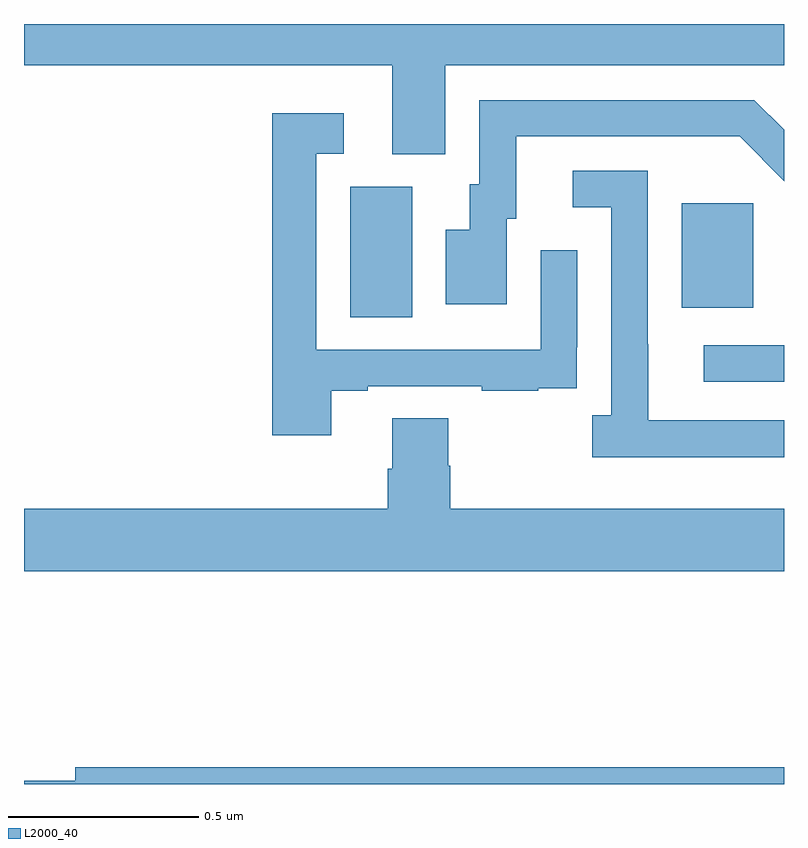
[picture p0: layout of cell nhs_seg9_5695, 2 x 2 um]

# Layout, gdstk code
import gdstk
lib = gdstk.Library(unit=1e-6, precision=1e-09)
def R(c, l, rs):  # rectangles x0, y0, x1, y1
    for r in rs: c.add(gdstk.rectangle(r[:2], r[2:], *l))
def P(c, l, *ps):  # polygons
    for p in ps: c.add(gdstk.Polygon(p, *l))
L2000_40 = (2000, 40)

nhs_seg9_5695 = lib.new_cell('nhs_seg9_5695')
R(nhs_seg9_5695, L2000_40, [(183.789,1223.559,184,1223.655), (182.858,1223.728,183.022,1224.072), (183.731,1223.753,183.919,1224.028)])
P(nhs_seg9_5695, L2000_40, [(183.109,1224.392),(184,1224.392),(184,1224.5),(182,1224.5),(182,1224.392),(182.969,1224.392),(182.969,1224.157),(183.109,1224.157)],
  [(183.271,1223.988),(183.295,1223.988),(183.295,1224.204),(183.883,1224.204),(184,1224.086),(184,1224.222),(183.922,1224.3),(183.198,1224.3),(183.198,1224.078),(183.173,1224.078),(183.173,1223.959),(183.11,1223.959),(183.11,1223.763),(183.271,1223.763)],
  [(182.809,1223.535),(182.905,1223.535),(182.905,1223.547),(183.205,1223.547),(183.205,1223.535),(183.353,1223.535),(183.353,1223.541),(183.455,1223.541),(183.455,1223.65),(183.456,1223.65),(183.456,1223.905),(183.36,1223.905),(183.36,1223.643),(182.769,1223.643),(182.769,1224.159),(182.842,1224.159),(182.842,1224.265),(182.653,1224.265),(182.653,1223.418),(182.809,1223.418)],
  [(184,1223.457),(183.643,1223.457),(183.643,1223.657),(183.642,1223.657),(183.642,1224.114),(183.444,1224.114),(183.444,1224.018),(183.546,1224.018),(183.546,1223.47),(183.495,1223.47),(183.495,1223.36),(184,1223.36)],
  [(184,1223.224),(183.122,1223.224),(183.122,1223.337),(183.117,1223.337),(183.117,1223.462),(182.969,1223.462),(182.969,1223.33),(182.957,1223.33),(182.957,1223.224),(182,1223.224),(182,1223.06),(184,1223.06)],
  [(184,1222.544),(182.135,1222.544),(182.135,1222.508),(182,1222.508),(182,1222.5),(184,1222.5)])

lib.write_gds('nhs_seg9_5695.gds')
